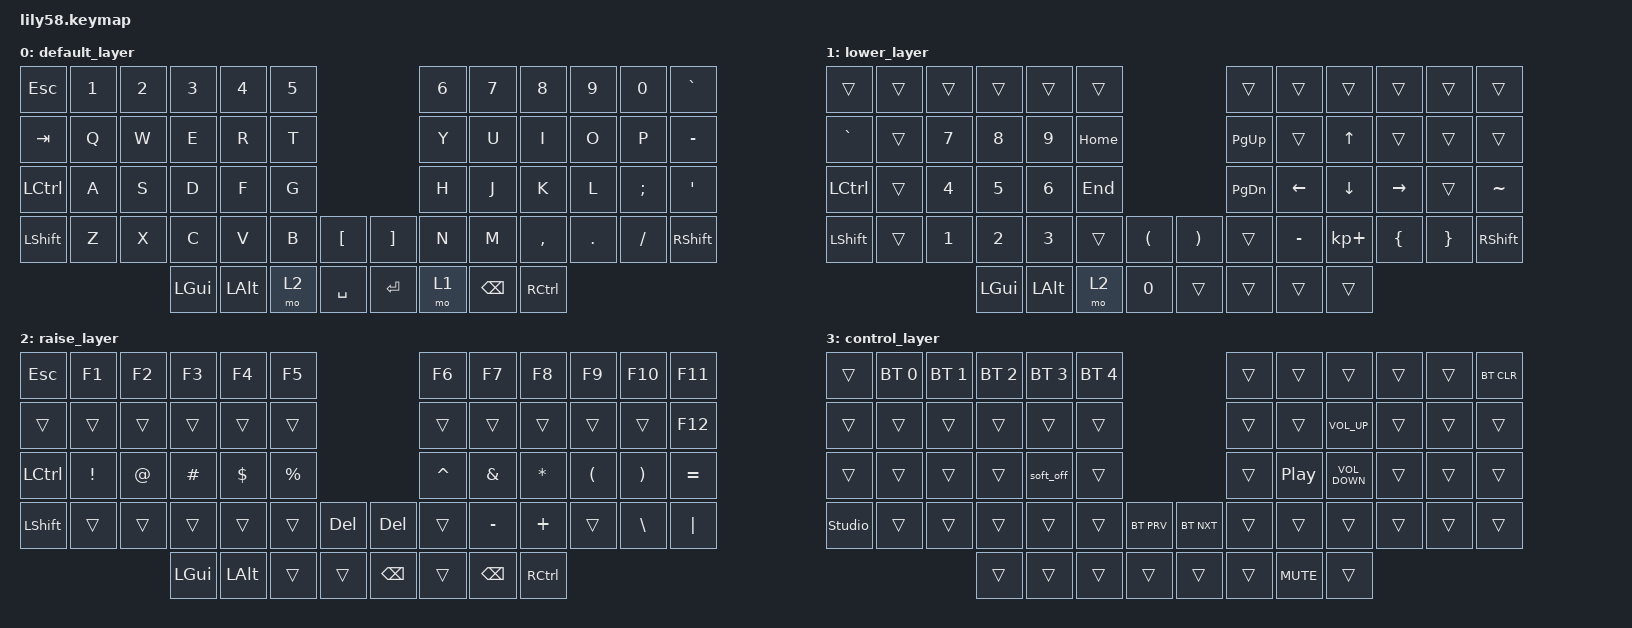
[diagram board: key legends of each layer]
/*
 * Copyright (c) 2020 The ZMK Contributors
 *
 * SPDX-License-Identifier: MIT
 */

#include <behaviors.dtsi>
#include <dt-bindings/zmk/bt.h>
#include <dt-bindings/zmk/keys.h>

/ {
    conditional_layers {
        compatible = "zmk,conditional-layers";

        tri_layer {
            if-layers = <1 2>;
            then-layer = <3>;
        };
    };

    keymap {
        compatible = "zmk,keymap";

        default_layer {
            // ------------------------------------------------------------------------------------------------------------
            // |  ESC  |  1  |  2  |  3   |  4   |  5   |                   |  6   |  7    |  8    |  9   |   0   |   `   |
            // |  TAB  |  Q  |  W  |  E   |  R   |  T   |                   |  Y   |  U    |  I    |  O   |   P   |   -   |
            // |  CTRL |  A  |  S  |  D   |  F   |  G   |                   |  H   |  J    |  K    |  L   |   ;   |   '   |
            // | SHIFT |  Z  |  X  |  C   |  V   |  B   |   "["  |  |  "]"  |  N   |  M    |  ,    |  .   |   /   | SHIFT |
            //                     | ALT  | GUI  | LOWER|  SPACE |  | ENTER | RAISE| BSPC  | GUI   |

            bindings = <
&kp ESC    &kp N1  &kp N2  &kp N3        &kp N4        &kp N5                         &kp N6  &kp N7    &kp N8     &kp N9   &kp N0    &kp GRAVE
&kp TAB    &kp Q   &kp W   &kp E         &kp R         &kp T                          &kp Y   &kp U     &kp I      &kp O    &kp P     &kp MINUS
&kp LCTRL  &kp A   &kp S   &kp D         &kp F         &kp G                          &kp H   &kp J     &kp K      &kp L    &kp SEMI  &kp SQT
&kp LSHFT  &kp Z   &kp X   &kp C         &kp V         &kp B   &kp LBKT     &kp RBKT  &kp N   &kp M     &kp COMMA  &kp DOT  &kp FSLH  &kp RSHFT
                           &kp LEFT_GUI  &kp LEFT_ALT  &mo 2   &kp SPACE    &kp RET   &mo 1   &kp BSPC  &kp RCTRL
            >;
        };

        lower_layer {
            // ------------------------------------------------------------------------------------------------------------
            // | BTCLR | BT1 | BT2 |  BT3 |  BT4 |  BT5 |                   |      |       |       |      |       |       |
            // |  F1   |  F2 |  F3 |  F4  |  F5  |  F6  |                   |  F7  |  F8   |  F9   |  F10 |  F11  |  F12  |
            // |   `   |  !  |  @  |  #   |  $   |  %   |                   |  ^   |  &    |  *    |  (   |   )   |   ~   |
            // |       |     |     |      |      |      |        |  |       |      |  _    |  +    |  {   |   }   |  "|"  |
            //                     |      |      |      |        |  |       |      |       |       |

            bindings = <
&trans            &trans  &trans        &trans        &trans        &trans                                                   &trans         &trans          &trans          &trans     &trans    &trans
&kp GRAVE         &trans  &kp N7        &kp N8        &kp N9        &kp HOME                                                 &kp PAGE_UP    &trans          &kp UP_ARROW    &trans     &trans    &trans
&kp LEFT_CONTROL  &trans  &kp NUMBER_4  &kp N5        &kp NUMBER_6  &kp END                                                  &kp PAGE_DOWN  &kp LEFT_ARROW  &kp DOWN_ARROW  &kp RIGHT  &trans    &kp TILDE
&kp LEFT_SHIFT    &trans  &kp NUMBER_1  &kp NUMBER_2  &kp NUMBER_3  &trans    &kp LEFT_PARENTHESIS    &kp RIGHT_PARENTHESIS  &trans         &kp MINUS       &kp KP_PLUS     &kp LBRC   &kp RBRC  &kp RIGHT_SHIFT
                                        &kp LEFT_GUI  &kp LEFT_ALT  &mo 2     &kp NUMBER_0            &trans                 &trans         &trans          &trans
            >;
        };

        raise_layer {
            // ------------------------------------------------------------------------------------------------------------
            // |       |     |     |      |      |      |                   |      |       |       |      |       |       |
            // |   `   |  1  |  2  |  3   |  4   |  5   |                   |  6   |   7   |   8   |  9   |   0   |       |
            // |   F1  |  F2 |  F3 |  F4  |  F5  |  F6  |                   |      |   <-  |   v   |  ^   |  ->   |       |
            // |   F7  |  F8 |  F9 |  F10 |  F11 |  F12 |        |  |       |  +   |   -   |   =   |  [   |   ]   |   \   |
            //                     |      |      |      |        |  |       |      |       |       |

            bindings = <
&kp ESCAPE      &kp F1    &kp F2       &kp F3        &kp F4        &kp F5                                 &kp F6     &kp F7         &kp F8        &kp F9                &kp F10                &kp F11
&trans          &trans    &trans       &trans        &trans        &trans                                 &trans     &trans         &trans        &trans                &trans                 &kp F12
&kp LCTRL       &kp EXCL  &kp AT_SIGN  &kp HASH      &kp DOLLAR    &kp PERCENT                            &kp CARET  &kp AMPERSAND  &kp ASTERISK  &kp LEFT_PARENTHESIS  &kp RIGHT_PARENTHESIS  &kp EQUAL
&kp LEFT_SHIFT  &trans    &trans       &trans        &trans        &trans       &kp DEL    &kp DEL        &trans     &kp MINUS      &kp PLUS      &trans                &kp BACKSLASH          &kp PIPE
                                       &kp LEFT_GUI  &kp LEFT_ALT  &trans       &trans     &kp BACKSPACE  &trans     &kp BACKSPACE  &kp RCTRL
            >;
        };

        control_layer {
            bindings = <
&trans          &bt BT_SEL 0  &bt BT_SEL 1  &bt BT_SEL 2  &bt BT_SEL 3  &bt BT_SEL 4                            &trans  &trans            &trans             &trans  &trans  &bt BT_CLR
&trans          &trans        &trans        &trans        &trans        &trans                                  &trans  &trans            &kp C_VOLUME_UP    &trans  &trans  &trans
&trans          &trans        &trans        &trans        &soft_off     &trans                                  &trans  &kp C_PLAY_PAUSE  &kp K_VOLUME_DOWN  &trans  &trans  &trans
&studio_unlock  &trans        &trans        &trans        &trans        &trans        &bt BT_PRV    &bt BT_NXT  &trans  &trans            &trans             &trans  &trans  &trans
                                            &trans        &trans        &trans        &trans        &trans      &trans  &kp C_MUTE        &trans
            >;
        };
    };
};
